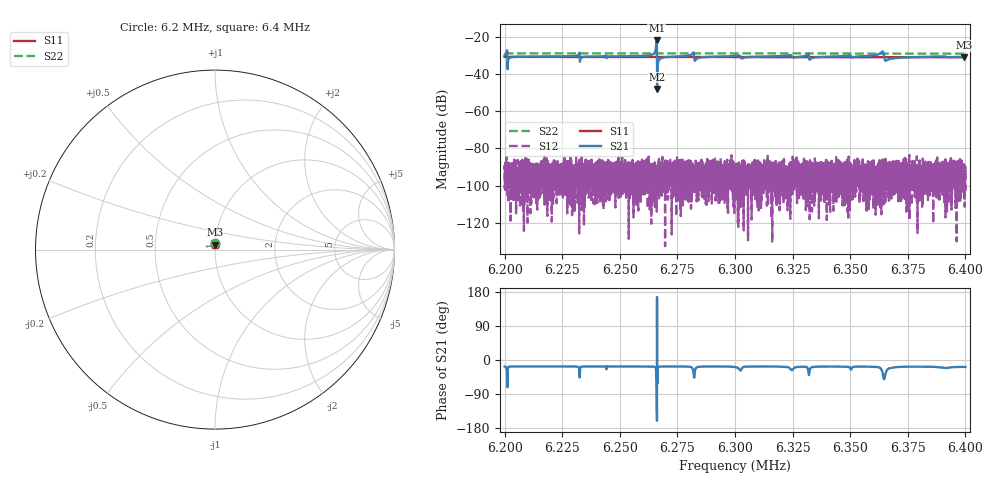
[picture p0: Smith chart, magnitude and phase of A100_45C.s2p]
!CETC41,AV3656A,ZGL00048,1.3.2
!Calibration ON (Full Solt 2-Port(Omit Isolation))
!Measurements: S11 S21 S12 S22
!2025-04-18 01:01
# Hz  S  dB  R 50.000
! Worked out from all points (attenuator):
!   6401 points, 6.2 MHz to 6.4 MHz, reference 50 ohm
!   highest |S21| = -22.05 dB at 6.266 MHz (marker M1); lowest = -48.1 dB at 6.2662 MHz (marker M2)
!   lowest |S11| = -31.1 dB at 6.3995 MHz (marker M3), VSWR 1.06, Z = 49.9 + j2.79 ohm
!   |S11| at or under -10 dB: start of sweep to end of sweep
!   |S22| runs from -29.1 to -28.9 dB; largest |S21 - S12| = 0.079
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6200000  -30.87 86.5  -29.98 -17.3  -91.99 99.8  -28.95 91.4
6202250  -30.88 86.5  -31.36 -17.4  -90.71 16.2  -28.94 91.5
6231563  -30.90 87.1  -30.08 -17.6  -97.07 54.7  -28.97 92.0
6233344  -30.91 87.2  -31.24 -17.7  -91.82 -14.7  -28.96 92.1
6261688  -30.93 87.9  -30.19 -17.1  -85.69 -23.8  -28.99 92.6
6265125  -30.93 88.0  -28.65 -18.2  -92.96 138.8  -28.99 92.6
6266000  -30.94 87.9  -22.05 -78.1  -113.99 24.9  -29.00 92.7
6266188  -30.94 88.0  -48.09 18.1  -95.55 -160.6  -28.99 92.6
6266688  -30.93 87.9  -33.57 -19.1  -97.71 52.4  -28.99 92.7
6267156  -30.94 88.0  -32.27 -17.8  -88.10 137.6  -29.00 92.7
6268875  -30.94 88.1  -31.20 -17.2  -94.79 58.2  -29.00 92.6
6281188  -30.96 88.3  -29.50 -19.4  -93.73 -119.5  -29.00 92.9
6283313  -30.95 88.4  -31.88 -19.6  -93.70 39.2  -29.01 93.0
6300000  -30.96 88.7  -30.30 -18.4  -94.07 17.0  -29.03 93.2
6325938  -31.00 89.4  -31.21 -20.1  -97.09 133.8  -29.03 93.7
6331063  -31.00 89.5  -29.93 -18.6  -93.96 72.2  -29.04 93.8
6333344  -31.01 89.5  -31.52 -19.0  -100.73 -173.5  -29.04 93.8
6363531  -31.03 90.2  -28.43 -24.6  -104.78 -159.9  -29.06 94.3
6365625  -31.03 90.3  -32.89 -30.5  -92.83 73.8  -29.07 94.4
6366688  -31.03 90.3  -32.19 -22.7  -98.39 -15.7  -29.07 94.4
6399531  -31.07 91.0  -30.72 -18.2  -90.11 -0.9  -29.10 95.0
6400000  -31.06 91.0  -30.63 -18.3  -102.93 11.0  -29.10 95.0
